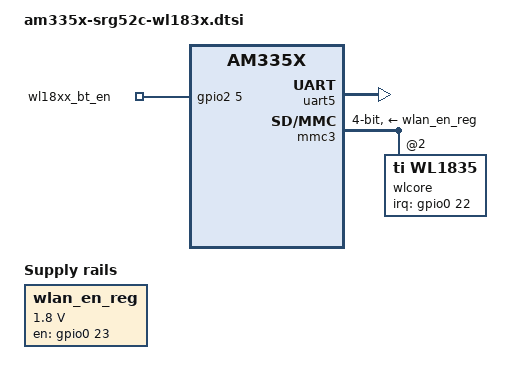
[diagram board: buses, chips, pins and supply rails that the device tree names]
// SPDX-License-Identifier: GPL-2.0
/*
 * Copyright (C) 2020 AAEON Technology Inc./LYD Inc.
 *
 * Authors: KunYi <kunyi.chen@gmail.com>
 *
 */

#include <dt-bindings/interrupt-controller/irq.h>

/ {
	wlan_en_reg: fixedregulator@1 {
		compatible = "regulator-fixed";
		regulator-name = "wlan-en-regulator";
		regulator-min-microvolt = <1800000>;
		regulator-max-microvolt = <1800000>;

		startup-delay-us= <70000>;
		gpio = <&gpio0 23 0>;
		enable-active-high;
	};

	btwilink {
		compatible = "btwilink";
	};
};

&am33xx_pinmux { /* for wl183x device on srg3352c gateway */

	bt_pins_default: pinmux_bt_pins_default { /* gpio2.5 for bt_en */
		pinctrl-single,pins = <
			AM33XX_PADCONF(AM335X_PIN_GPMC_BEN0_CLE, PIN_OUTPUT, MUX_MODE7)	/* (T6) gpio2.5 */
		>;
	};

	mmc3_pins: pinmux_mmc3_pins {	/* mmc3 for wl183x sdio device */
		pinctrl-single,pins = <
			AM33XX_PADCONF(AM335X_PIN_GPMC_CLK,		PIN_INPUT, MUX_MODE3)	/* (V12) mmc2_clk	*/
			AM33XX_PADCONF(AM335X_PIN_GPMC_CSN3,	PIN_INPUT, MUX_MODE3)	/* (T13) mmc_cmd	*/
			AM33XX_PADCONF(AM335X_PIN_GPMC_AD12,	PIN_INPUT, MUX_MODE3)	/* (T12) mmc2_data0	*/
			AM33XX_PADCONF(AM335X_PIN_GPMC_AD13,	PIN_INPUT, MUX_MODE3)	/* (R12) mmc2_data1	*/
			AM33XX_PADCONF(AM335X_PIN_GPMC_AD14,	PIN_INPUT, MUX_MODE3)	/* (V13) mmc2_data2	*/
			AM33XX_PADCONF(AM335X_PIN_GPMC_AD15,	PIN_INPUT, MUX_MODE3)	/* (U13) mmc2_data3	*/
		>;
	};

	wlan_pins_default: pinmux_wlan_pins_default { /* gpio0.22 for wl_irq, gpio0.23 for wl_en */
		pinctrl-single,pins = <
			AM33XX_PADCONF(AM335X_PIN_GPMC_AD8,	PIN_INPUT_PULLDOWN, MUX_MODE7)		/* (U10) gpio0.22	*/
			AM33XX_PADCONF(AM335X_PIN_GPMC_AD9,	PIN_OUTPUT, MUX_MODE7)				/* (T10) gpio0.23	*/
		>;
	};
};

&uart5 {
	status = "okay";
	pinctrl-0 = <&uart5_pins_default &bt_pins_default>;
	uart-has-rtscts;
	/* don't work
	bluetooth {
		compatible = "ti,wl1831-st";
		enable-gpios = <&gpio2 5 GPIO_ACTIVE_HIGH>;
	};
	*/
};

&leds {
	wl18xx_bt_en {
		label = "wl18xx_bt_en";
		/* pinctrl in uart5 */
		gpios = <&gpio2 5 GPIO_ACTIVE_HIGH>;
		linux,default-trigger = "none";
		default-state = "off";
	};
};

&mmc3 {
	status = "okay";
	/* these are on the crossbar and are outlined in the
	xbar-event-map element */
	dmas = <&edma_xbar 12 0 1
		&edma_xbar 13 0 2>;
	dma-names = "tx", "rx";
	vmmc-supply = <&wlan_en_reg>;
	bus-width = <4>;
	ti,needs-special-hs-handling;
	ti,non-removable;
	cap-power-off-card;
	keep-power-in-suspend;
	pinctrl-names = "default";
	pinctrl-0 = <&mmc3_pins &wlan_pins_default>;

	#address-cells = <1>;
	#size-cells = <0>;
	wlcore: wlcore@0 {
		compatible = "ti,wl1835";
		reg = <2>;
		interrupt-parent = <&gpio0>;
		interrupts = <22 IRQ_TYPE_EDGE_RISING>;
	};
};
